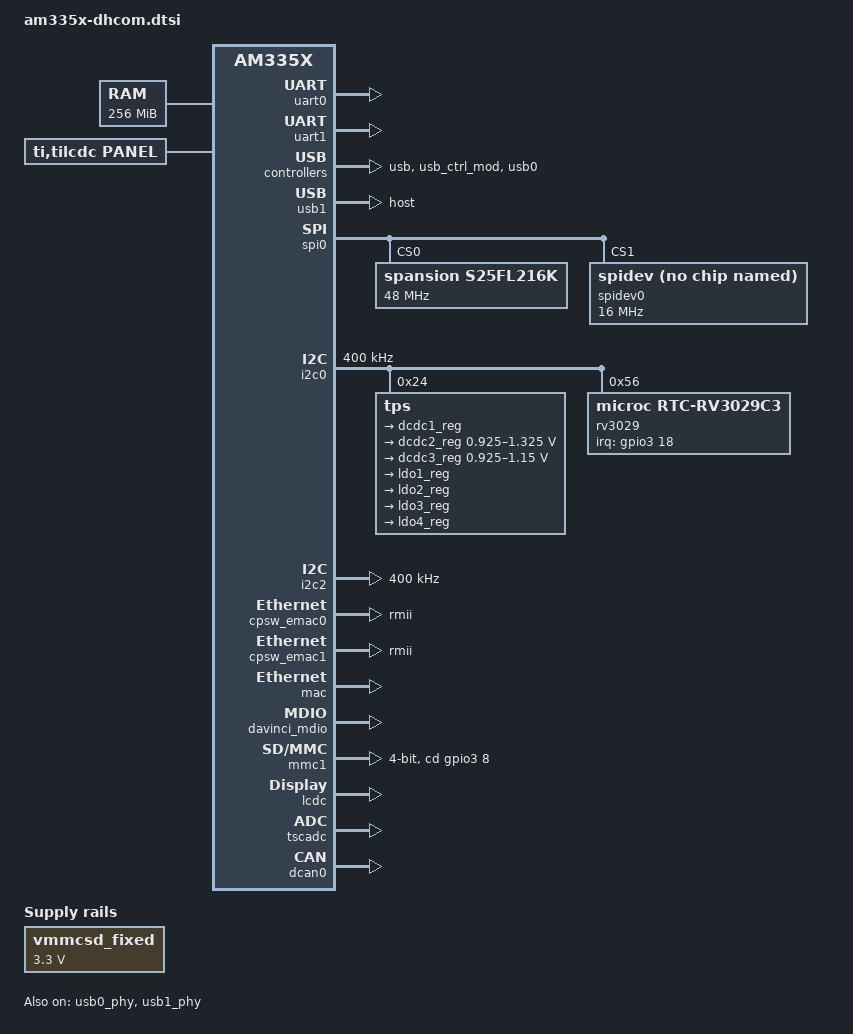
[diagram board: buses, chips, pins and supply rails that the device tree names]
/*
 * Copyright (C) 2012 Texas Instruments Incorporated - http://www.ti.com/
 *
 * This program is free software; you can redistribute it and/or modify
 * it under the terms of the GNU General Public License version 2 as
 * published by the Free Software Foundation.
 */

/ {
	aliases {
		spi0 = &spi0;
	};
	
	cpus {
		cpu@0 {
			cpu0-supply = <&dcdc2_reg>;
		};
	};

	memory {
		device_type = "memory";
		reg = <0x80000000 0x10000000>; /* 256 MB */
	};

	panel: lcd_panel {
		compatible = "ti,tilcdc,panel";
	};
	
	vmmcsd_fixed: fixedregulator@0 {
		compatible = "regulator-fixed";
		regulator-name = "vmmcsd_fixed";
		regulator-min-microvolt = <3300000>;
		regulator-max-microvolt = <3300000>;
	};
};

&am33xx_pinmux {
	pinctrl-names = "default";
	pinctrl-0 = <&dhcom_gpio_pins>;

	dhcom_gpio_pins: pinmux_dhcom_gpio_pins {
		pinctrl-single,pins = <
			0x1b4 (PIN_INPUT | MUX_MODE7)	/* xdma_event_intr1.gpio0_20 - GPIO A */
			0x1a4 (PIN_INPUT | MUX_MODE7)	/* mcasp0_fsr.gpio3_19 - GPIO B */
			0x1a8 (PIN_INPUT | MUX_MODE7)	/* mcasp0_axr1.gpio3_20 - GPIO C */
			0x08c (PIN_INPUT | MUX_MODE7)	/* gpmc_clk.gpio2_1 - GPIO D */
			0x21c (PIN_INPUT | MUX_MODE7)	/* usb0_drvvbus.gpio0_18 - GPIO E */
			0x198 (PIN_INPUT | MUX_MODE7)	/* mcasp0_axr0.gpio3_16 - GPIO F */
			// 0x194 (PIN_INPUT | MUX_MODE7) /* mcasp0_fsx.gpio3_15 - GPIO G - used for backlight enable  */
			0x164 (PIN_INPUT | MUX_MODE7)	/* ecap0_in_pwm0_out.gpio0_7 - GPIO H */
			0x19c (PIN_INPUT | MUX_MODE7)	/* mcasp0_ahclkr.gpio3_17 - GPIO I */
			0x1ac (PIN_INPUT | MUX_MODE7)	/* mcasp0_ahclkx.gpio3_21 - GPIO J */
			0x064 (PIN_INPUT | MUX_MODE7)	/* gpmc_a9.gpio1_25 - GPIO K */
			0x060 (PIN_INPUT | MUX_MODE7)	/* gpmc_a8.gpio1_24 - GPIO L */
			0x05c (PIN_INPUT | MUX_MODE7)	/* gpmc_a7.gpio1_23 - GPIO M */
			0x058 (PIN_INPUT | MUX_MODE7)	/* gpmc_a6.gpio1_22 - GPIO N */
			0x044 (PIN_INPUT | MUX_MODE7)	/* gpmc_a3.gpio1_19 - GPIO O */
			0x048 (PIN_INPUT | MUX_MODE7)	/* gpmc_a2.gpio1_18 - GPIO P */
			0x04c (PIN_INPUT | MUX_MODE7)	/* gpmc_a1.gpio1_17 - GPIO Q */
		>;
	};
};

&uart0 { /* UART1 on DHCOM */
	pinctrl-names = "default";
	pinctrl-0 = <&uart0_pins>;

	status = "okay";
};

&uart1 { /* UART2 on DHCOM */
	pinctrl-names = "default";
	pinctrl-0 = <&uart1_pins>;

	status = "okay";
};

&am33xx_pinmux {
	uart0_pins: pinmux_uart0_pins { /* UART1 on DHCOM */
		pinctrl-single,pins = <
			0x168 (PIN_INPUT_PULLUP | MUX_MODE0)	/* uart0_cts.uart0_cts */
			0x16C (PIN_OUTPUT_PULLDOWN | MUX_MODE0)	/* uart0_rts.uart0_rts */
			0x170 (PIN_INPUT_PULLUP | MUX_MODE0)	/* uart0_rxd.uart0_rxd */
			0x174 (PIN_OUTPUT_PULLDOWN | MUX_MODE0)	/* uart0_txd.uart0_txd */
		>;
	};
	
	uart1_pins: pinmux_uart1_pins { /* UART2 on DHCOM */
		pinctrl-single,pins = <
			0x180 (PIN_INPUT_PULLUP | MUX_MODE0)	/* uart1_rxd.uart1_rxd */
			0x184 (PIN_OUTPUT_PULLDOWN | MUX_MODE0)	/* uart1_txd.uart1_txd */
		>;
	};
};

&usb {
	status = "okay";
};

&usb_ctrl_mod {
	status = "okay";
};

&usb0_phy { /* DHCOM USB OTG */
	status = "okay";
};

&usb1_phy { /* DHCOM USB HOST 1 */
	status = "okay";
};

&usb0 { /* DHCOM USB OTG */
	status = "okay";
};

&usb1 { /* DHCOM USB HOST 1 */
	status = "okay";
	dr_mode = "host";
};

&cppi41dma  {
	status = "okay";
};

&am33xx_pinmux {
	usb1_host_pins: pinmux_usb1_host {
		pinctrl-single,pins = <
			/* DHCOM USB Host 1 Over Current detection */
			0x118 (PIN_INPUT_PULLUP | MUX_MODE7) /* mii1_rx_dv.gpio3_6 */
		>;
	};
};

&spi0 { 
        #address-cells     = <1>;
        #size-cells     = <0>;
        pinctrl-names = "default";
        pinctrl-0 = <&spi0_pins>;
        status = "okay";

        s25fl216k@0 { // Bootloader Flash: Spansion S25FL116K0PMFI010 (used to store bootloader)
                #address-cells = <1>;
                #size-cells = <1>;
                compatible = "spansion,s25fl216k", "m25p80";
                spi-max-frequency = <48000000>;
                reg = <0>; /* chip select 0 */
                m25p,fast-read;
        };
        
        spidev0: spi@1{ /* DHCOM SPI 1 */
                #address-cells = <1>;
                #size-cells = <1>;
                compatible = "spidev";
                reg = <1>; /* chip select 1 */
                spi-max-frequency = <16000000>;
                // spi-cpha; /* Shifted clock phase (CPHA) mode */
                // spi-cpol; /* Inverse clock polarity (CPOL) mode */
        };
};

&am33xx_pinmux {
	spi0_pins: pinmux_spi0_pins { /* Bootloader FLASH + SPI0 on DHCOM */
		pinctrl-single,pins = <
			0x150 (PIN_INPUT_PULLDOWN | MUX_MODE0)	/* spi0_sclk.spi0_sclk */
			0x154 (PIN_INPUT | MUX_MODE0)	/* spi0_d0.spi0_d0 */
			0x158 (PIN_INPUT_PULLDOWN | MUX_MODE0)	/* spi0_d1.spi0_d1 */
			0x15C (PIN_OUTPUT_PULLUP | MUX_MODE0)	/* spi0_cs0.spi0_cs0 */
			0x160 (PIN_OUTPUT_PULLUP | MUX_MODE0)	/* spi0_cs1.spi0_cs1 */
		>;
	};
};

&rtc { /* Disable SoC RTC */
	status = "disabled";
};

&i2c0 { /* on module I2C at DHCOM */
	pinctrl-names = "default";
	pinctrl-0 = <&i2c0_pins>;

	status = "okay";
	clock-frequency = <400000>;

	tps: tps@24 {
		reg = <0x24>; /* i2c address */
	};

        rv3029: rtc@56 { /* Micro Crystal RV-3029-C3 (onModule) */
                compatible = "microc,rtc-rv3029c3", "microc,rtc-rv3029c2";
                device_type = "rtc";
                reg = <0x56>; /* i2c address */
                interrupt-parent = <&gpio3>;
                interrupts = <18 2>; /* 2 = high to low edge triggered */
                status = "okay";
        };
};

&i2c2 { /* I2C1 on DHCOM */
	pinctrl-names = "default";
	pinctrl-0 = <&i2c2_pins>;

	status = "okay";
	clock-frequency = <400000>;
};

&am33xx_pinmux {
	i2c0_pins: pinmux_i2c0_pins { /* on module I2C at DHCOM */
		pinctrl-single,pins = <
			0x188 (PIN_INPUT_PULLUP | MUX_MODE0)	/* i2c0_sda.i2c0_sda */
			0x18c (PIN_INPUT_PULLUP | MUX_MODE0)	/* i2c0_scl.i2c0_scl */
			/* RTC interrupt gpio */
			0x1A0 (PIN_INPUT_PULLUP | MUX_MODE7) /* mcasp0_aclkr.gpio3_18 */
		>;
	};

	i2c2_pins: pinmux_i2c2_pins { /* I2C1 on DHCOM */
		pinctrl-single,pins = <
			0x178 (PIN_INPUT_PULLUP | MUX_MODE3)	/* uart1_ctsn.i2c2_sda */
			0x17c (PIN_INPUT_PULLUP | MUX_MODE3)	/* uart1_rtsn.i2c2_scl */
		>;
	};
};

/include/ "tps65217.dtsi"

&tps {
	regulators {
		dcdc1_reg: regulator@0 {
			regulator-name = "vdds_dpr";
			regulator-always-on;
		};

		dcdc2_reg: regulator@1 {
			/* VDD_MPU voltage limits 0.95V - 1.26V with +/-4% tolerance */
			regulator-name = "vdd_mpu";
			regulator-min-microvolt = <925000>;
			regulator-max-microvolt = <1325000>;
			regulator-boot-on;
			regulator-always-on;
		};

		dcdc3_reg: regulator@2 {
			/* VDD_CORE voltage limits 0.95V - 1.1V with +/-4% tolerance */
			regulator-name = "vdd_core";
			regulator-min-microvolt = <925000>;
			regulator-max-microvolt = <1150000>;
			regulator-boot-on;
			regulator-always-on;
		};

		ldo1_reg: regulator@3 {
			regulator-name = "vio,vrtc,vdds";
			regulator-always-on;
		};

		ldo2_reg: regulator@4 {
			regulator-name = "vdd_3v3aux";
			regulator-always-on;
		};

		ldo3_reg: regulator@5 {
			regulator-name = "vdd_1v8";
			regulator-always-on;
		};

		ldo4_reg: regulator@6 {
			regulator-name = "vdd_3v3a";
			regulator-always-on;
		};
	};
};

&cpsw_emac0 {
	phy_id = <&davinci_mdio>, <0>;
	phy-mode = "rmii";
};

&cpsw_emac1 {
	phy_id = <&davinci_mdio>, <1>;
	phy-mode = "rmii";
};

&phy_sel {
	rmii-clock-ext;
};

&mac {
	pinctrl-names = "default", "sleep";
	pinctrl-0 = <&cpsw_default>;
	pinctrl-1 = <&cpsw_sleep>;
	dual_emac = <1>;
	status = "okay";
};

&davinci_mdio {
	pinctrl-names = "default", "sleep";
	pinctrl-0 = <&davinci_mdio_default>;
	pinctrl-1 = <&davinci_mdio_sleep>;
	status = "okay";
};

&am33xx_pinmux {
	cpsw_default: cpsw_default {
		pinctrl-single,pins = <
			/* Slave 1 */
			0x110 (PIN_INPUT_PULLUP | MUX_MODE1)	/* mii1_rxerr.rmii1_rxerr */
			0x114 (PIN_OUTPUT_PULLDOWN | MUX_MODE1)	/* mii1_txen.rmii1_txen */
			0x10C (PIN_INPUT_PULLUP | MUX_MODE1)	/* mii1_crs.rmii1_crs_dv */
			0x124 (PIN_OUTPUT_PULLDOWN | MUX_MODE1)	/* mii1_txd1.rmii1_txd1 */
			0x128 (PIN_OUTPUT_PULLDOWN | MUX_MODE1)	/* mii1_txd0.rmii1_txd0 */
			0x13c (PIN_INPUT_PULLUP | MUX_MODE1)	/* mii1_rxd1.rmii1_rxd1 */
			0x140 (PIN_INPUT_PULLUP | MUX_MODE1)	/* mii1_rxd0.rmii1_rxd0 */
			0x144 (PIN_INPUT_PULLUP | MUX_MODE0)	/* rmii1_ref_clk.rmii1_ref_clk */
			/* Slave 2 */
			0x074 (PIN_INPUT_PULLUP | MUX_MODE3)	/* gpmc_wpn.rmii2_rxerr */
			0x040 (PIN_OUTPUT_PULLDOWN | MUX_MODE3)	/* gpmc_a0.rmii2_txen */
			0x088 (PIN_INPUT_PULLUP | MUX_MODE2)	/* gpmc_csn3.rmii2_crs_dv */
			0x050 (PIN_OUTPUT_PULLDOWN | MUX_MODE3)	/* gpmc_a4.rmii2_txd1 */
			0x054 (PIN_OUTPUT_PULLDOWN | MUX_MODE3)	/* gpmc_a5.rmii2_txd0 */
			0x068 (PIN_INPUT_PULLUP | MUX_MODE3)	/* gpmc_a10.rmii2_rxd1 */
			0x06c (PIN_INPUT_PULLUP | MUX_MODE3)	/* gpmc_a11.rmii2_rxd0 */
			0x108 (PIN_INPUT_PULLUP | MUX_MODE1)	/* mii1_col.rmii2_ref_clk */
		>;
	};

	cpsw_sleep: cpsw_sleep {
		pinctrl-single,pins = <
			/* Slave 1 reset value */
			0x110 (PIN_INPUT_PULLDOWN | MUX_MODE7)
			0x114 (PIN_INPUT_PULLDOWN | MUX_MODE7)
			0x10C (PIN_INPUT_PULLDOWN | MUX_MODE7)
			0x124 (PIN_INPUT_PULLDOWN | MUX_MODE7)
			0x128 (PIN_INPUT_PULLDOWN | MUX_MODE7)
			0x13c (PIN_INPUT_PULLDOWN | MUX_MODE7)
			0x140 (PIN_INPUT_PULLDOWN | MUX_MODE7)
			0x144 (PIN_INPUT_PULLDOWN | MUX_MODE7)
			/* Slave 2 reset value */
			0x074 (PIN_INPUT_PULLDOWN | MUX_MODE7)
			0x040 (PIN_INPUT_PULLDOWN | MUX_MODE7)
			0x088 (PIN_INPUT_PULLDOWN | MUX_MODE7)
			0x050 (PIN_INPUT_PULLDOWN | MUX_MODE7)
			0x054 (PIN_INPUT_PULLDOWN | MUX_MODE7)
			0x068 (PIN_INPUT_PULLDOWN | MUX_MODE7)
			0x06c (PIN_INPUT_PULLDOWN | MUX_MODE7)
			0x108 (PIN_INPUT_PULLDOWN | MUX_MODE7)
		>;
	};

	davinci_mdio_default: davinci_mdio_default {
		pinctrl-single,pins = <
			/* MDIO */
			0x148 (PIN_INPUT_PULLUP | SLEWCTRL_FAST | MUX_MODE0) /* mdio_data.mdio_data */
			0x14c (PIN_OUTPUT_PULLUP | MUX_MODE0) /* mdio_clk.mdio_clk */
		>;
	};

	davinci_mdio_sleep: davinci_mdio_sleep {
		pinctrl-single,pins = <
			/* MDIO reset value */
			0x148 (PIN_INPUT_PULLDOWN | MUX_MODE7)
			0x14c (PIN_INPUT_PULLDOWN | MUX_MODE7)
		>;
	};
};

&mmc1 {
	status = "okay";
	bus-width = <0x4>;
	pinctrl-names = "default";
	pinctrl-0 = <&mmc1_pins>;
	cd-gpios = <&gpio3 8 GPIO_ACTIVE_HIGH>;
};

&am33xx_pinmux {
	mmc1_pins: pinmux_mmc1_pins { /* SD/µSD Interface on DHCOM */
		pinctrl-single,pins = < /* Pull up/down via hardware */
			0x1E8 (PIN_INPUT | MUX_MODE7) /* emu1.gpio3_8 - mmc0_cd */
			0x100 (PIN_INPUT | MUX_MODE0) /* mmc0_clk.mmc0_clk */
			0x104 (PIN_INPUT | MUX_MODE0) /* mmc0_cmd.mmc0_cmd */
			0x0FC (PIN_INPUT | MUX_MODE0) /* mmc0_dat0.mmc0_dat0 */
			0x0F8 (PIN_INPUT | MUX_MODE0) /* mmc0_dat1.mmc0_dat1 */
			0x0F4 (PIN_INPUT | MUX_MODE0) /* mmc0_dat2.mmc0_dat2 */
			0x0F0 (PIN_INPUT | MUX_MODE0) /* mmc0_dat3.mmc0_dat3 */
		>;
	};
};

/* Display: 24-bit LCD Screen */
&panel {
	status = "okay";
	pinctrl-names = "default";
	pinctrl-0 = <&lcd_pins>;
	panel-info {
		ac-bias = <255>;
		ac-bias-intrpt = <0>;
		dma-burst-sz = <16>;
		bpp = <32>;
		fdd = <0x80>;
		sync-edge = <0>;
		sync-ctrl = <1>;
		raster-order = <0>;
		fifo-th = <0>;
	};
	display-timings {
		native-mode = <&timing0>;
		timing0: 800x480 {
			clock-frequency = <22200000>;
			hactive = <800>;
			vactive = <480>;
			hfront-porch = <42>;
			hback-porch = <86>;
			hsync-len = <64>;
			vfront-porch = <10>;
			vback-porch = <33>;
			vsync-len = <2>;
			hsync-active = <0>;
			vsync-active = <0>;
		};
	};
};

&lcdc {
	status = "okay";
};

&am33xx_pinmux {
	lcd_pins: pinmux_lcd {
		pinctrl-single,pins = <
			0xa0 (PIN_OUTPUT | MUX_MODE0)	/* lcd_data0.lcd_data0 */
			0xa4 (PIN_OUTPUT | MUX_MODE0)	/* lcd_data1.lcd_data1 */
			0xa8 (PIN_OUTPUT | MUX_MODE0)	/* lcd_data2.lcd_data2 */
			0xac (PIN_OUTPUT | MUX_MODE0)	/* lcd_data3.lcd_data3 */
			0xb0 (PIN_OUTPUT | MUX_MODE0)	/* lcd_data4.lcd_data4 */
			0xb4 (PIN_OUTPUT | MUX_MODE0)	/* lcd_data5.lcd_data5 */
			0xb8 (PIN_OUTPUT | MUX_MODE0)	/* lcd_data6.lcd_data6 */
			0xbc (PIN_OUTPUT | MUX_MODE0)	/* lcd_data7.lcd_data7 */
			0xc0 (PIN_OUTPUT | MUX_MODE0)	/* lcd_data8.lcd_data8 */
			0xc4 (PIN_OUTPUT | MUX_MODE0)	/* lcd_data9.lcd_data9 */
			0xc8 (PIN_OUTPUT | MUX_MODE0)	/* lcd_data10.lcd_data10 */
			0xcc (PIN_OUTPUT | MUX_MODE0)	/* lcd_data11.lcd_data11 */
			0xd0 (PIN_OUTPUT | MUX_MODE0)	/* lcd_data12.lcd_data12 */
			0xd4 (PIN_OUTPUT | MUX_MODE0)	/* lcd_data13.lcd_data13 */
			0xd8 (PIN_OUTPUT | MUX_MODE0)	/* lcd_data14.lcd_data14 */
			0xdc (PIN_OUTPUT | MUX_MODE0)	/* lcd_data15.lcd_data15 */
			0x20 (PIN_OUTPUT | MUX_MODE1)	/* gpmc_ad8.lcd_data16 */
			0x24 (PIN_OUTPUT | MUX_MODE1)	/* gpmc_ad9.lcd_data17 */
			0x28 (PIN_OUTPUT | MUX_MODE1)	/* gpmc_ad10.lcd_data18 */
			0x2c (PIN_OUTPUT | MUX_MODE1)	/* gpmc_ad11.lcd_data19 */
			0x30 (PIN_OUTPUT | MUX_MODE1)	/* gpmc_ad12.lcd_data20 */
			0x34 (PIN_OUTPUT | MUX_MODE1)	/* gpmc_ad13.lcd_data21 */
			0x38 (PIN_OUTPUT | MUX_MODE1)	/* gpmc_ad14.lcd_data22 */
			0x3c (PIN_OUTPUT | MUX_MODE1)	/* gpmc_ad15.lcd_data23 */
			0xe0 (PIN_OUTPUT | MUX_MODE0)	/* lcd_vsync.lcd_vsync */
			0xe4 (PIN_OUTPUT | MUX_MODE0)	/* lcd_hsync.lcd_hsync */
			0xe8 (PIN_OUTPUT | MUX_MODE0)	/* lcd_pclk.lcd_pclk */
			0xec (PIN_OUTPUT | MUX_MODE0)	/* lcd_ac_bias_en.lcd_ac_bias_en */
			/* Display Enable */
			0x194 (PIN_OUTPUT_PULLUP | MUX_MODE7)	/* mcasp0_fsx.gpio3_15 (DHCOM GPIO G)*/
		>;
	};
};

&tscadc { /* resistive touch */
	status = "okay";
	tsc {
		ti,wires = <4>;
		ti,x-plate-resistance = <180>;
		ti,coordinate-readouts = <5>;
		ti,wire-config = <0x00 0x11 0x22 0x33>;
		ti,charge-delay = <0xB000>;
	};

	adc {
		ti,adc-channels = <4 5 6 7>;
	};
};

&dcan0 { /* DHCOM can interface */
	status = "okay";
	pinctrl-names = "default";
	pinctrl-0 = <&dcan0_pins>;
};

&am33xx_pinmux {
	dcan0_pins: pinmux_dcan0 {
		pinctrl-single,pins = <
			0x11c (PIN_INPUT | MUX_MODE1)	/* mii_txd3.dcan0_rx */
			0x120 (PIN_INPUT | MUX_MODE1)	/* mii_txd2.dcan0_tx */
		>;
	};
};
